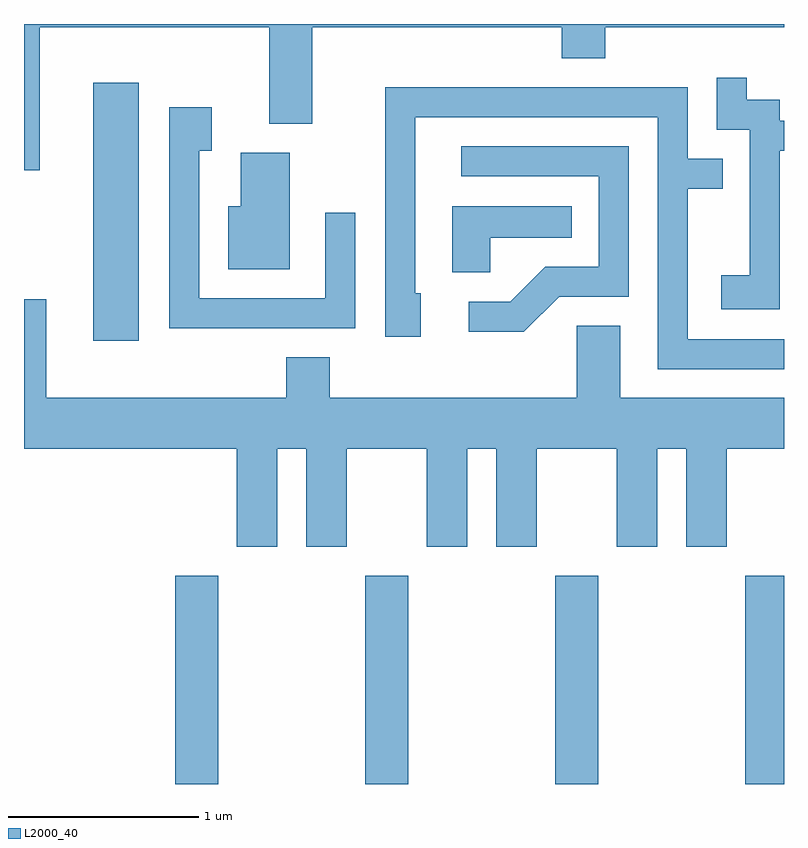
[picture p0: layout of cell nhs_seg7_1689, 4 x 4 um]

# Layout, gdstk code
import gdstk
lib = gdstk.Library(unit=1e-6, precision=1e-09)
def R(c, l, rs):  # rectangles x0, y0, x1, y1
    for r in rs: c.add(gdstk.rectangle(r[:2], r[2:], *l))
def A(c, l, x, y, w, h, nx, ny, dx, dy):  # array of equal rectangles
    R(c, l, [(x+i*dx, y+j*dy, x+i*dx+w, y+j*dy+h) for i in range(nx) for j in range(ny)])
def P(c, l, *ps):  # polygons
    for p in ps: c.add(gdstk.Polygon(p, *l))
L2000_40 = (2000, 40)

nhs_seg7_1689 = lib.new_cell('nhs_seg7_1689')
A(nhs_seg7_1689, L2000_40, 236.406, 1790.252, 0.228, 1.097, 3, 1, 1, 0)
R(nhs_seg7_1689, L2000_40, [(239.406,1790.252,239.611,1791.349), (235.976,1792.586,236.214,1793.944)])
P(nhs_seg7_1689, L2000_40, [(235.694,1794.236),(236.901,1794.236),(236.901,1793.726),(237.129,1793.726),(237.129,1794.236),(238.441,1794.236),(238.441,1794.071),(238.669,1794.071),(238.669,1794.236),(239.611,1794.236),(239.611,1794.252),(235.611,1794.252),(235.611,1793.483),(235.694,1793.483)],
  [(239.589,1793.586),(239.611,1793.586),(239.611,1793.744),(239.589,1793.744),(239.589,1793.854),(239.414,1793.854),(239.414,1793.968),(239.256,1793.968),(239.256,1793.696),(239.431,1793.696),(239.431,1792.929),(239.281,1792.929),(239.281,1792.751),(239.589,1792.751)],
  [(239.611,1792.594),(239.104,1792.594),(239.104,1793.386),(239.288,1793.386),(239.288,1793.544),(239.104,1793.544),(239.104,1793.919),(237.511,1793.919),(237.511,1792.606),(237.699,1792.606),(237.699,1792.834),(237.669,1792.834),(237.669,1793.761),(238.946,1793.761),(238.946,1792.436),(239.611,1792.436)],
  [(237.354,1793.258),(237.196,1793.258),(237.196,1792.809),(236.534,1792.809),(236.534,1793.586),(236.599,1793.586),(236.599,1793.814),(236.376,1793.814),(236.376,1792.651),(237.354,1792.651)],
  [(238.427,1792.816),(238.794,1792.816),(238.794,1793.609),(237.913,1793.609),(237.913,1793.451),(238.636,1793.451),(238.636,1792.974),(238.354,1792.974),(238.169,1792.789),(237.953,1792.789),(237.953,1792.631),(238.242,1792.631)],
  [(237.009,1793.574),(236.751,1793.574),(236.751,1793.294),(236.686,1793.294),(236.686,1792.961),(237.009,1792.961)],
  [(238.064,1793.126),(238.493,1793.126),(238.493,1793.294),(237.866,1793.294),(237.866,1792.946),(238.064,1792.946)],
  [(237.219,1792.499),(236.991,1792.499),(236.991,1792.284),(235.729,1792.284),(235.729,1792.804),(235.611,1792.804),(235.611,1792.016),(236.731,1792.016),(236.731,1791.501),(236.944,1791.501),(236.944,1792.016),(237.096,1792.016),(237.096,1791.501),(237.309,1791.501),(237.309,1792.016),(237.731,1792.016),(237.731,1791.501),(237.944,1791.501),(237.944,1792.016),(238.096,1792.016),(238.096,1791.501),(238.309,1791.501),(238.309,1792.016),(238.731,1792.016),(238.731,1791.501),(238.944,1791.501),(238.944,1792.016),(239.096,1792.016),(239.096,1791.501),(239.309,1791.501),(239.309,1792.016),(239.611,1792.016),(239.611,1792.284),(238.749,1792.284),(238.749,1792.664),(238.521,1792.664),(238.521,1792.284),(237.219,1792.284)])

lib.write_gds('nhs_seg7_1689.gds')
